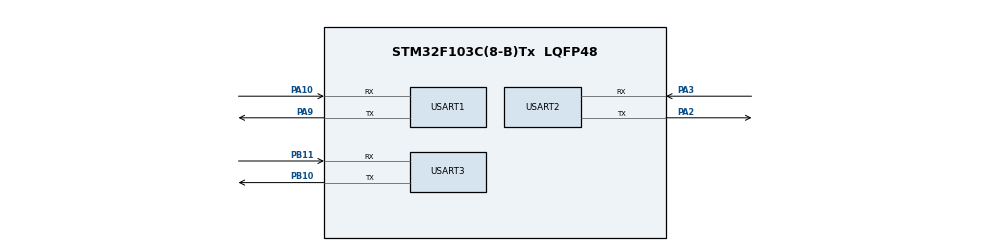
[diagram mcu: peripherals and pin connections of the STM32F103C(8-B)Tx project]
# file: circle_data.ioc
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Dma.Request0=USART2_RX
Dma.Request1=USART3_RX
Dma.USART2_RX.0.Direction=DMA_PERIPH_TO_MEMORY
Dma.USART2_RX.0.Instance=DMA1_Channel6
Dma.USART2_RX.0.MemDataAlignment=DMA_MDATAALIGN_BYTE
Dma.USART2_RX.0.MemInc=DMA_MINC_ENABLE
Dma.USART2_RX.0.Mode=DMA_CIRCULAR
Dma.USART2_RX.0.PeriphDataAlignment=DMA_PDATAALIGN_BYTE
Dma.USART2_RX.0.PeriphInc=DMA_PINC_DISABLE
Dma.USART2_RX.0.Priority=DMA_PRIORITY_HIGH
Dma.USART3_RX.1.Direction=DMA_PERIPH_TO_MEMORY
Dma.USART3_RX.1.Instance=DMA1_Channel3
Dma.USART3_RX.1.MemDataAlignment=DMA_MDATAALIGN_BYTE
Dma.USART3_RX.1.MemInc=DMA_MINC_ENABLE
Dma.USART3_RX.1.Mode=DMA_CIRCULAR
Dma.USART3_RX.1.PeriphDataAlignment=DMA_PDATAALIGN_BYTE
Dma.USART3_RX.1.PeriphInc=DMA_PINC_DISABLE
Dma.USART3_RX.1.Priority=DMA_PRIORITY_HIGH
Mcu.Family=STM32F1
Mcu.Name=STM32F103C(8-B)Tx
Mcu.Package=LQFP48
NVIC.DMA1_Channel3_IRQn=true\:0\:0\:false\:false\:true\:false\:true\:true
NVIC.DMA1_Channel6_IRQn=true\:1\:0\:true\:false\:true\:false\:true\:true
NVIC.PriorityGroup=NVIC_PRIORITYGROUP_4
NVIC.USART2_IRQn=true\:0\:0\:false\:false\:true\:true\:true\:true
NVIC.USART3_IRQn=true\:0\:0\:false\:false\:true\:true\:true\:true
PA10.Mode=Asynchronous
PA10.Signal=USART1_RX
PA13.Mode=Serial_Wire
PA13.Signal=SYS_JTMS-SWDIO
PA14.Mode=Serial_Wire
PA14.Signal=SYS_JTCK-SWCLK
PA2.Mode=Asynchronous
PA2.Signal=USART2_TX
PA3.Mode=Asynchronous
PA3.Signal=USART2_RX
PA9.Mode=Asynchronous
PA9.Signal=USART1_TX
PB10.Mode=Asynchronous
PB10.Signal=USART3_TX
PB11.GPIO_PuPd=GPIO_PULLUP
PB11.Mode=Asynchronous
PB11.Signal=USART3_RX
PD0-OSC_IN.Mode=HSE-External-Oscillator
PD0-OSC_IN.Signal=RCC_OSC_IN
PD1-OSC_OUT.Mode=HSE-External-Oscillator
PD1-OSC_OUT.Signal=RCC_OSC_OUT
ProjectManager.HeapSize=0x200
ProjectManager.StackSize=0x400
ProjectManager.TargetToolchain=MDK-ARM V5.32
RCC.APB1Freq_Value=8000000
RCC.APB2Freq_Value=8000000
USART1.VirtualMode=VM_ASYNC
USART2.VirtualMode=VM_ASYNC
USART3.VirtualMode=VM_ASYNC
board=custom

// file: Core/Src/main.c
/* USER CODE BEGIN Header */
/**
  ******************************************************************************
  * @file           : main.c
  * @brief          : Main program body
  ******************************************************************************
  * @attention
  *
  * Copyright (c) 2026 STMicroelectronics.
  * All rights reserved.
  *
  * This software is licensed under terms that can be found in the LICENSE file
  * in the root directory of this software component.
  * If no LICENSE file comes with this software, it is provided AS-IS.
  *
  ******************************************************************************
  */
/* USER CODE END Header */
#include "main.h"
#include "dma.h"
#include "usart.h"
#include "gpio.h"

/* USER CODE BEGIN Includes */
#include "bsp.h"
/* USER CODE END Includes */

void SystemClock_Config(void);

/* USER CODE BEGIN 0 */
uint8_t pi_rx_buf[128];      // 摄像头(USART3) DMA缓存

/* DEBUG：全局变量，方便 Keil Watch（位置模式：PID输出=脉冲数，不是RPM） */
volatile float g_error_x = 0;       // 当前误差（≈ -offset）
volatile float g_pulse_out = 0;    // PID输出脉冲数
volatile float g_pid_raw_out = 0;  // 保留（兼容）

/* 视觉端直接输出居中偏移量(offset)，即误差信号，故 PID 目标值(setpoint)=0 */
/* USER CODE END 0 */

int main(void)
{

  /* MCU Configuration--------------------------------------------------------*/

  /* Reset of all peripherals, Initializes the Flash interface and the Systick. */
  HAL_Init();

  /* Configure the system clock */
  SystemClock_Config();

  /* Initialize all configured peripherals */
  MX_GPIO_Init();
  MX_DMA_Init();
  MX_USART2_UART_Init();
  MX_USART3_UART_Init();
  MX_USART1_UART_Init();
  /* USER CODE BEGIN 2 */

  /* 初始化PID（参数全部引用 pid.c 里的 TUNE_xxx） */
  PID_Init(&ball_pid, TUNE_KP, TUNE_KI, TUNE_KD, 0.0f, CO_MAX, CO_MIN);

  /* 启动 DMA 循环接收摄像头数据（USART3） */
  if (HAL_UART_Receive_DMA(&huart3, pi_rx_buf, DMA_BUF_SIZE) != HAL_OK)
  {
      Error_Handler();
  }
  /* 开启中断接收，收到1字节进入中断回调（USART2：电机响应） */
  HAL_UART_Receive_IT(&huart2, &uart_rx_data, 1);

  /* 等待 Emm V5.0 模块自检完成 */
  HAL_Delay(2000);

  /*
   * 上电：当前位置设为0，电机不转
   * （原ball-beam回零代码已注释，居中跟踪不需要机械回零）
   */
  #if 0
  /* 原回零：单圈就近回零（o_mode=0）—— 电机会转，不适合居中跟踪 */
  {
      uint8_t origin_cmd[] = {0x02, 0x9A, 0x00, 0x00, 0x6B};
      HAL_UART_Transmit(&huart2, origin_cmd, 5, 100);
  }
  HAL_Delay(2000);
  #endif
  {
      uint8_t zero_cmd[] = {0x02, 0x0A, 0x6D, 0x6B};  /* func=0x0A: 当前位置清零 */
      HAL_UART_Transmit(&huart2, zero_cmd, 4, 100);
  }
  HAL_Delay(100);

  /* 使能电机 */
  {
      uint8_t en_cmd[] = {0x02, 0xF3, 0xAB, 0x01, 0x00, 0x6B};  /* addr=2, func=0xF3, state=1(使能), snF=0 */
      HAL_UART_Transmit(&huart2, en_cmd, 6, 100);
  }

  /* USER CODE END 2 */

  /* Infinite loop */
  while (1)
  {

    /* USER CODE BEGIN 3 */

    /* ===== 视觉跟踪移植：位置式PID + 双增益切换（偏移量域） ===== */

    /* 检查摄像头是否有有效数据（999 = 丢失目标） */
    if (g_latest_error_x != 999)
    {
        /* 直接把居中偏移量(有符号)当误差喂入 PID —— 不要强转 uint16，会毁掉负数 */
        Ball_Control_Once(g_latest_error_x);

        /* 更新调试变量 */
        g_error_x = ball_pid.Error0;
        g_pulse_out = ball_pid.out;
    }

    /* 周期打印调试信息（每200ms） */
    {
        static u32 last_print_tick = 0;
        if (uwTick - last_print_tick >= 200)
        {
            last_print_tick = uwTick;
            char buf[80];
            char *dir = (ball_direction == 0) ? "CW" : "CCW";
            sprintf(buf, "err=%.1f  CO=%.1f  int=%.1f  Kp=%.2f  off=%d  dir=%s\r\n",
                    ball_pid.Error0, ball_pid.out, ball_pid.err_int,
                    ball_pid.Kp, (int)g_latest_error_x, dir);
            uart1_print(buf);
        }
    }

    HAL_Delay(1); // 1ms 主循环节流
  }
  /* USER CODE END 3 */
}

void SystemClock_Config(void)
{
  RCC_OscInitTypeDef RCC_OscInitStruct = {0};
  RCC_ClkInitTypeDef RCC_ClkInitStruct = {0};

  /** Initializes the RCC Oscillators according to the specified parameters
  * in the RCC_OscInitTypeDef structure.
  */
  RCC_OscInitStruct.OscillatorType = RCC_OSCILLATORTYPE_HSI;
  RCC_OscInitStruct.HSIState = RCC_HSI_ON;
  RCC_OscInitStruct.HSICalibrationValue = RCC_HSICALIBRATION_DEFAULT;
  RCC_OscInitStruct.PLL.PLLState = RCC_PLL_NONE;
  if (HAL_RCC_OscConfig(&RCC_OscInitStruct) != HAL_OK)
  {
    Error_Handler();
  }

  /** Initializes the CPU, AHB and APB buses clocks
  */
  RCC_ClkInitStruct.ClockType = RCC_CLOCKTYPE_HCLK|RCC_CLOCKTYPE_SYSCLK
                              |RCC_CLOCKTYPE_PCLK1|RCC_CLOCKTYPE_PCLK2;
  RCC_ClkInitStruct.SYSCLKSource = RCC_SYSCLKSOURCE_HSI;
  RCC_ClkInitStruct.AHBCLKDivider = RCC_SYSCLK_DIV1;
  RCC_ClkInitStruct.APB1CLKDivider = RCC_HCLK_DIV1;
  RCC_ClkInitStruct.APB2CLKDivider = RCC_HCLK_DIV1;

  if (HAL_RCC_ClockConfig(&RCC_ClkInitStruct, FLASH_LATENCY_0) != HAL_OK)
  {
    Error_Handler();
  }
}

void Error_Handler(void)
{
  __disable_irq();
  while (1)
  {
  }
}
